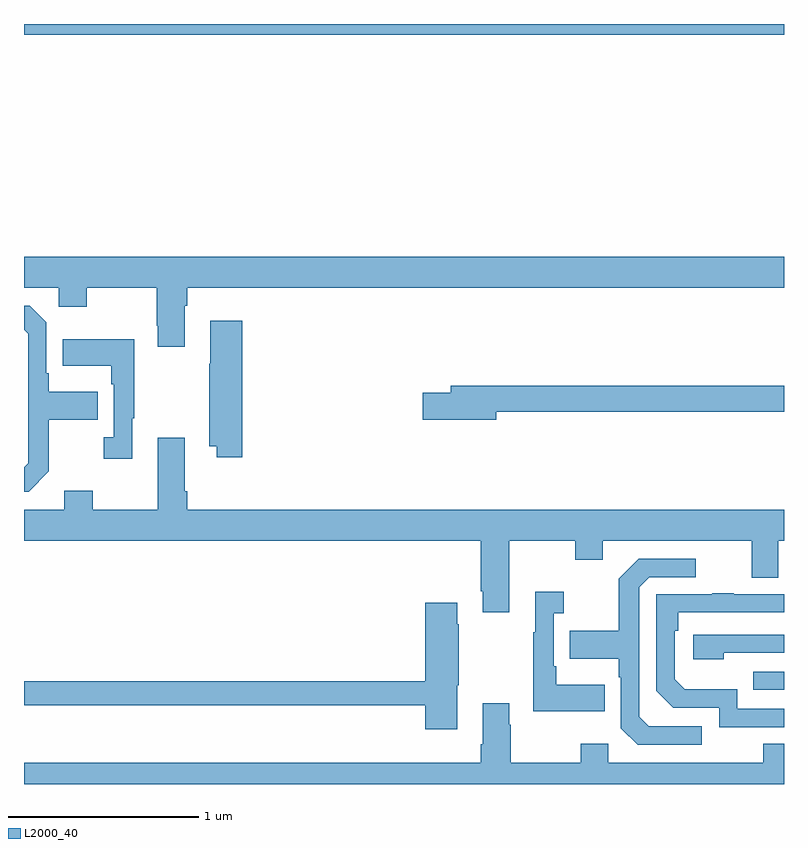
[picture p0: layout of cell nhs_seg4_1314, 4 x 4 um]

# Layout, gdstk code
import gdstk
lib = gdstk.Library(unit=1e-6, precision=1e-09)
def R(c, l, rs):  # rectangles x0, y0, x1, y1
    for r in rs: c.add(gdstk.rectangle(r[:2], r[2:], *l))
def P(c, l, *ps):  # polygons
    for p in ps: c.add(gdstk.Polygon(p, *l))
L2000_40 = (2000, 40)

nhs_seg4_1314 = lib.new_cell('nhs_seg4_1314')
R(nhs_seg4_1314, L2000_40, [(182.839,769.395,183,769.491), (179,772.844,183,772.9)])
P(nhs_seg4_1314, L2000_40, [(179.845,771.416),(179.858,771.416),(179.858,771.512),(183,771.512),(183,771.676),(179,771.676),(179,771.512),(179.184,771.512),(179.184,771.413),(179.331,771.413),(179.331,771.512),(179.698,771.512),(179.698,771.313),(179.705,771.313),(179.705,771.201),(179.845,771.201)],
  [(179.131,770.545),(179.131,770.818),(179.387,770.818),(179.387,770.965),(179.131,770.965),(179.131,771.061),(179.118,771.061),(179.118,771.33),(179.031,771.417),(179,771.417),(179,771.292),(179.022,771.27),(179.022,770.589),(179,770.567),(179,770.439),(179.025,770.439)],
  [(180.149,771.337),(179.981,771.337),(179.981,771.113),(179.974,771.113),(179.974,770.678),(180.014,770.678),(180.014,770.619),(180.149,770.619)],
  [(179.569,770.825),(179.581,770.825),(179.581,771.241),(179.203,771.241),(179.203,771.101),(179.46,771.101),(179.46,771.005),(179.472,771.005),(179.472,770.726),(179.421,770.726),(179.421,770.613),(179.569,770.613)],
  [(181.486,770.86),(183,770.86),(183,770.996),(181.247,770.996),(181.247,770.96),(181.098,770.96),(181.098,770.818),(181.486,770.818)],
  [(181.555,770.18),(181.9,770.18),(181.9,770.081),(182.047,770.081),(182.047,770.18),(182.831,770.18),(182.831,769.986),(182.971,769.986),(182.971,770.18),(183,770.18),(183,770.344),(179.858,770.344),(179.858,770.44),(179.845,770.44),(179.845,770.722),(179.705,770.722),(179.705,770.344),(179.361,770.344),(179.361,770.443),(179.213,770.443),(179.213,770.344),(179,770.344),(179,770.18),(181.403,770.18),(181.403,769.915),(181.415,769.915),(181.415,769.803),(181.555,769.803)],
  [(182.566,769.203),(182.289,769.203),(182.238,769.254),(182.238,769.935),(182.292,769.989),(182.536,769.989),(182.536,770.085),(182.235,770.085),(182.13,769.979),(182.13,769.707),(181.873,769.707),(181.873,769.559),(182.13,769.559),(182.13,769.463),(182.142,769.463),(182.142,769.194),(182.229,769.107),(182.566,769.107)],
  [(182.057,769.423),(181.801,769.423),(181.801,769.519),(181.788,769.519),(181.788,769.799),(181.84,769.799),(181.84,769.912),(181.691,769.912),(181.691,769.699),(181.68,769.699),(181.68,769.283),(182.057,769.283)],
  [(183,769.296),(182.754,769.296),(182.754,769.399),(182.477,769.399),(182.424,769.452),(182.424,769.706),(182.444,769.706),(182.444,769.803),(183,769.803),(183,769.899),(182.735,769.899),(182.735,769.904),(182.623,769.904),(182.623,769.899),(182.328,769.899),(182.328,769.392),(182.418,769.302),(182.658,769.302),(182.658,769.2),(183,769.2)],
  [(181.279,769.419),(181.287,769.419),(181.287,769.742),(181.279,769.742),(181.279,769.855),(181.112,769.855),(181.112,769.442),(179,769.442),(179,769.314),(181.112,769.314),(181.112,769.188),(181.279,769.188)],
  [(182.684,769.59),(183,769.59),(183,769.686),(182.523,769.686),(182.523,769.556),(182.684,769.556)],
  [(183,769.111),(182.89,769.111),(182.89,769.012),(182.076,769.012),(182.076,769.111),(181.93,769.111),(181.93,769.012),(181.563,769.012),(181.563,769.211),(181.555,769.211),(181.555,769.324),(181.415,769.324),(181.415,769.108),(181.403,769.108),(181.403,769.012),(179,769.012),(179,768.9),(183,768.9)])

lib.write_gds('nhs_seg4_1314.gds')
